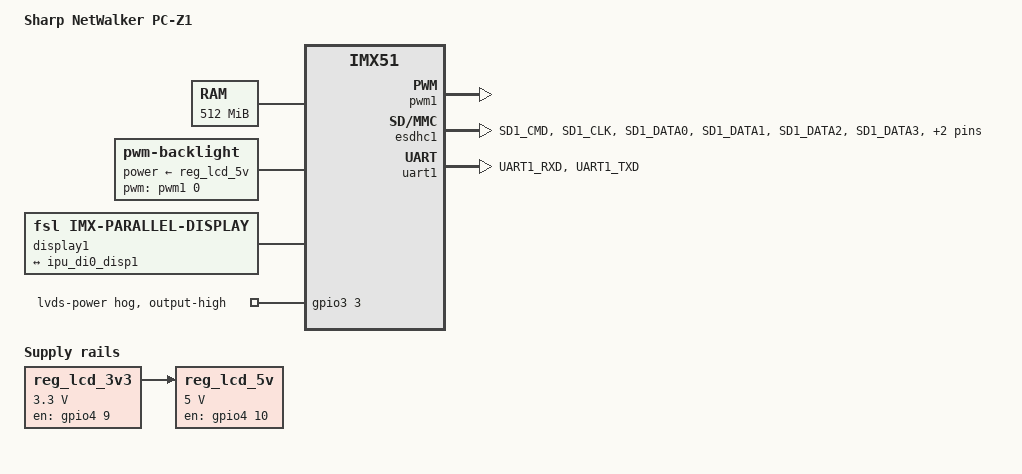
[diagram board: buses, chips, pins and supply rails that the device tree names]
// SPDX-License-Identifier: GPL-2.0+

/dts-v1/;
#include "imx51.dtsi"

/ {
	model = "Sharp NetWalker PC-Z1";
	compatible = "sharp,pc-z1", "fsl,imx51";

	chosen {
		stdout-path = &uart1;
	};

	memory@90000000 {
		device_type = "memory";
		reg = <0x90000000 0x20000000>;
	};

	reg_lcd_3v3: regulator-lcd-3v3 {
		compatible = "regulator-fixed";
		pinctrl-names = "default";
		pinctrl-0 = <&pinctrl_lcd_3v3>;
		regulator-name = "lcd-3v3";
		regulator-min-microvolt = <3300000>;
		regulator-max-microvolt = <3300000>;
		gpio = <&gpio4 9 GPIO_ACTIVE_HIGH>;
		enable-active-high;
		startup-delay-us = <180000>;
		regulator-boot-on;
		regulator-always-on;
	};

	reg_lcd_5v: regulator-lcd-5v {
		compatible = "regulator-fixed";
		pinctrl-names = "default";
		pinctrl-0 = <&pinctrl_lcd_5v>;
		regulator-name = "lcd-5v";
		regulator-min-microvolt = <5000000>;
		regulator-max-microvolt = <5000000>;
		gpio = <&gpio4 10 GPIO_ACTIVE_HIGH>;
		enable-active-high;
		vin-supply = <&reg_lcd_3v3>;
		regulator-boot-on;
		regulator-always-on;
	};

	backlight: backlight {
		compatible = "pwm-backlight";
		pinctrl-names = "default";
		pinctrl-0 = <&pinctrl_backlight>;
		pwms = <&pwm1 0 3333333 0>;
		power-supply = <&reg_lcd_5v>;
		brightness-levels = <0 100>;
		num-interpolated-steps = <100>;
		default-brightness-level = <80>;
	};

	display1: disp1 {
		compatible = "fsl,imx-parallel-display";
		interface-pix-fmt = "lvds666";
		pinctrl-names = "default";
		pinctrl-0 = <&pinctrl_ipu_disp1>;

		display-timings {
			native-mode = <&timing_wsvga>;

			timing_wsvga: wsvga {
				clock-frequency = <33250000>;
				hactive = <1024>;
				vactive = <600>;
				hback-porch = <20>;
				hfront-porch = <20>;
				hsync-len = <8>;
				vback-porch = <2>;
				vfront-porch = <2>;
				vsync-len = <4>;
				hsync-active = <0>;
				vsync-active = <0>;
				de-active = <1>;
				pixelclk-active = <1>;
			};
		};

		port {
			display_in: endpoint {
				remote-endpoint = <&ipu_di0_disp1>;
			};
		};
	};
};

&ipu_di0_disp1 {
	remote-endpoint = <&display_in>;
};

&gpio3 {
	lvds-power-hog {
		gpio-hog;
		gpios = <3 GPIO_ACTIVE_HIGH>;
		output-high;
		line-name = "lvds-power";
	};
};

&pwm1 {
	status = "okay";
};

&esdhc1 {
	pinctrl-names = "default";
	pinctrl-0 = <&pinctrl_esdhc1>;
	cd-gpios = <&gpio1 0 GPIO_ACTIVE_LOW>;
	disable-wp;
	status = "okay";
};

&uart1 {
	pinctrl-names = "default";
	pinctrl-0 = <&pinctrl_uart1>;
	status = "okay";
};

&iomuxc {
	pinctrl-names = "default";
	pinctrl-0 = <&pinctrl_hog>;

	pinctrl_hog: hoggrp {
		fsl,pins = <
			MX51_PAD_DI1_D0_CS__GPIO3_3		0x85
		>;
	};

	pinctrl_lcd_3v3: lcd3v3grp {
		fsl,pins = <
			MX51_PAD_CSI2_D12__GPIO4_9		0x85
		>;
	};

	pinctrl_lcd_5v: lcd5vgrp {
		fsl,pins = <
			MX51_PAD_CSI2_D13__GPIO4_10		0x85
		>;
	};

	pinctrl_backlight: backlightgrp {
		fsl,pins = <
			MX51_PAD_GPIO1_2__PWM1_PWMO		0xc
		>;
	};

	pinctrl_ipu_disp1: ipudisp1grp {
		fsl,pins = <
			MX51_PAD_DISP1_DAT0__DISP1_DAT0		0x5
			MX51_PAD_DISP1_DAT1__DISP1_DAT1		0x5
			MX51_PAD_DISP1_DAT2__DISP1_DAT2		0x5
			MX51_PAD_DISP1_DAT3__DISP1_DAT3		0x5
			MX51_PAD_DISP1_DAT4__DISP1_DAT4		0x5
			MX51_PAD_DISP1_DAT5__DISP1_DAT5		0x5
			MX51_PAD_DISP1_DAT6__DISP1_DAT6		0x5
			MX51_PAD_DISP1_DAT7__DISP1_DAT7		0x5
			MX51_PAD_DISP1_DAT8__DISP1_DAT8		0x5
			MX51_PAD_DISP1_DAT9__DISP1_DAT9		0x5
			MX51_PAD_DISP1_DAT10__DISP1_DAT10	0x5
			MX51_PAD_DISP1_DAT11__DISP1_DAT11	0x5
			MX51_PAD_DISP1_DAT12__DISP1_DAT12	0x5
			MX51_PAD_DISP1_DAT13__DISP1_DAT13	0x5
			MX51_PAD_DISP1_DAT14__DISP1_DAT14	0x5
			MX51_PAD_DISP1_DAT15__DISP1_DAT15	0x5
			MX51_PAD_DISP1_DAT16__DISP1_DAT16	0x5
			MX51_PAD_DISP1_DAT17__DISP1_DAT17	0x5
			MX51_PAD_DISP1_DAT18__DISP1_DAT18	0x5
			MX51_PAD_DISP1_DAT19__DISP1_DAT19	0x5
			MX51_PAD_DISP1_DAT20__DISP1_DAT20	0x5
			MX51_PAD_DISP1_DAT21__DISP1_DAT21	0x5
			MX51_PAD_DISP1_DAT22__DISP1_DAT22	0x5
			MX51_PAD_DISP1_DAT23__DISP1_DAT23	0x5
			MX51_PAD_DI1_PIN2__DI1_PIN2		0x5
			MX51_PAD_DI1_PIN3__DI1_PIN3		0x5
		>;
	};

	pinctrl_esdhc1: esdhc1grp {
		fsl,pins = <
			MX51_PAD_SD1_CMD__SD1_CMD		0x400020d5
			MX51_PAD_SD1_CLK__SD1_CLK		0x20d5
			MX51_PAD_SD1_DATA0__SD1_DATA0		0x20d5
			MX51_PAD_SD1_DATA1__SD1_DATA1		0x20d5
			MX51_PAD_SD1_DATA2__SD1_DATA2		0x20d5
			MX51_PAD_SD1_DATA3__SD1_DATA3		0x20d5
			MX51_PAD_GPIO1_0__GPIO1_0		0x100
		>;
	};

	pinctrl_uart1: uart1grp {
		fsl,pins = <
			MX51_PAD_UART1_RXD__UART1_RXD		0x1c5
			MX51_PAD_UART1_TXD__UART1_TXD		0x1c5
		>;
	};
};
